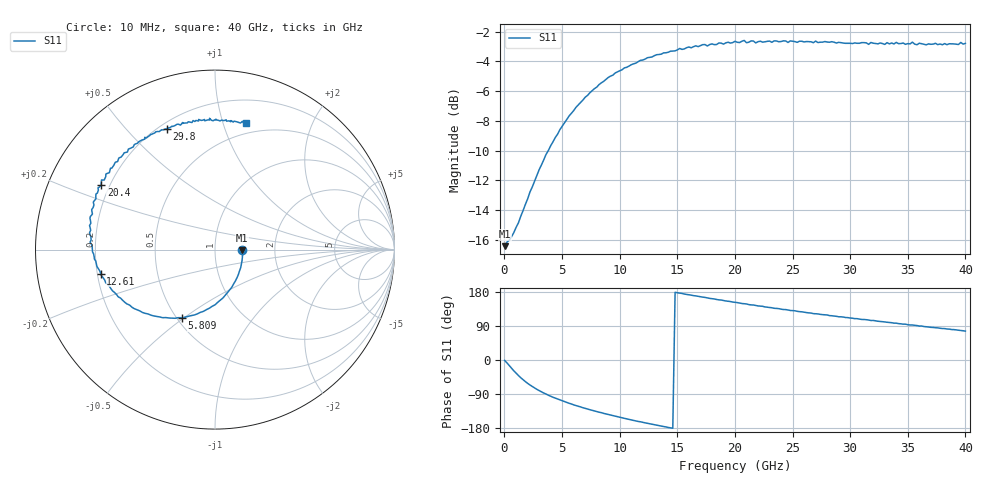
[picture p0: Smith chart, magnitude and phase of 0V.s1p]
!Agilent Technologies,N5227A,US51270434,A.10.00.00
!Agilent N5227A: A.10.00.00
!Date: Monday, January 26, 2026 17:28:52
!Correction: S11(Full 1 Port(1))
!S1P File: Measurement: S11:
# Hz S  dB  R 50
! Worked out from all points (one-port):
!   201 points, 10 MHz to 40 GHz, reference 50 ohm
!   lowest |S11| = -16.4 dB at 10 MHz (marker M1), VSWR 1.36, Z = 67.8 - j0.364 ohm
!   |S11| at or under -10 dB: start of sweep to 3.8 GHz
!   S11 on the Smith chart (normalised r, x): 10 MHz: 1.36, -0.01; 5.809 GHz: 0.53, -0.49; 12.61 GHz: 0.21, -0.10; 20.4 GHz: 0.17, +0.26; 29.8 GHz: 0.23, +0.65; 40 GHz: 0.40, +1.19
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1e7  -16.42 -1.0
1.2097e9  -14.85 -40.9
2.20945e9  -12.78 -65.9
3.6091e9  -10.25 -89.8
5.00875e9  -8.36 -107.5
5.80855e9  -7.49 -116.0
7.80805e9  -5.83 -134.4
1.00075e10  -4.63 -151.2
1.16071e10  -4.01 -162.2
1.260685e10  -3.73 -168.2
1.500625e10  -3.22 177.4
1.72057e10  -2.87 165.9
2.0005e10  -2.65 152.2
2.04049e10  -2.73 150.3
2.08048e10  -2.59 148.5
2.340415e10  -2.62 136.5
2.500375e10  -2.65 130.2
2.68033e10  -2.74 122.4
2.700325e10  -2.64 122.1
2.980255e10  -2.79 111.8
3.00025e10  -2.78 110.8
3.16021e10  -2.85 105.5
3.180205e10  -2.73 104.3
3.500125e10  -2.80 93.1
3.540115e10  -2.71 92.4
3.580105e10  -2.88 90.9
3.740065e10  -2.79 85.1
4e10  -2.79 76.2
